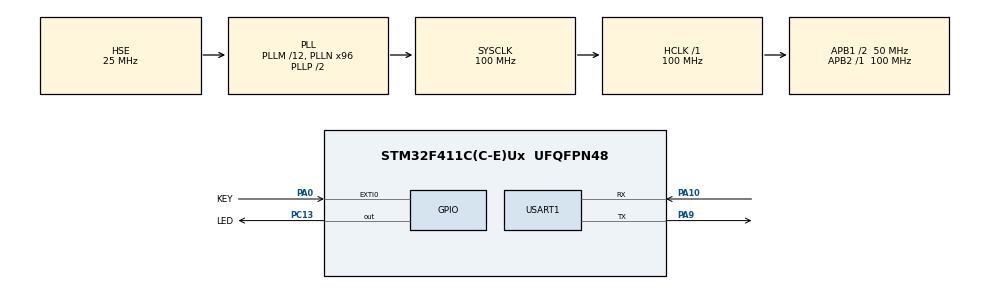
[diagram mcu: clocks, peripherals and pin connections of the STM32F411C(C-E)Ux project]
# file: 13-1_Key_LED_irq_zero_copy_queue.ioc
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FREERTOS.Tasks01=defaultTask,24,128,StartDefaultTask,Default,NULL,Dynamic,NULL,NULL
FREERTOS.Timers01=myTimer01,CallbackTimer01,osTimerPeriodic,Default,NULL,Dynamic,NULL
Mcu.Family=STM32F4
Mcu.Name=STM32F411C(C-E)Ux
Mcu.Package=UFQFPN48
NVIC.EXTI0_IRQn=true\:5\:0\:false\:false\:true\:true\:true\:true\:true
NVIC.PriorityGroup=NVIC_PRIORITYGROUP_4
NVIC.TIM1_BRK_TIM9_IRQn=true\:5\:0\:false\:false\:true\:true\:true\:true\:true
NVIC.TIM1_UP_TIM10_IRQn=true\:15\:0\:false\:false\:true\:false\:false\:true\:true
NVIC.TimeBase=TIM1_UP_TIM10_IRQn
NVIC.TimeBaseIP=TIM1
NVIC.USART1_IRQn=true\:5\:0\:false\:false\:true\:true\:true\:true\:true
PA0-WKUP.GPIO_Label=KEY
PA0-WKUP.GPIO_ModeDefaultEXTI=GPIO_MODE_IT_RISING_FALLING
PA0-WKUP.GPIO_PuPd=GPIO_PULLUP
PA0-WKUP.Signal=GPXTI0
PA10.Mode=Asynchronous
PA10.Signal=USART1_RX
PA13.Mode=Serial_Wire
PA13.Signal=SYS_JTMS-SWDIO
PA14.Mode=Serial_Wire
PA14.Signal=SYS_JTCK-SWCLK
PA9.Mode=Asynchronous
PA9.Signal=USART1_TX
PC13-ANTI_TAMP.GPIO_Label=LED
PC13-ANTI_TAMP.GPIO_PuPd=GPIO_PULLUP
PC13-ANTI_TAMP.Signal=GPIO_Output
PC14-OSC32_IN.Mode=LSE-External-Oscillator
PC14-OSC32_IN.Signal=RCC_OSC32_IN
PC15-OSC32_OUT.Mode=LSE-External-Oscillator
PC15-OSC32_OUT.Signal=RCC_OSC32_OUT
PH0\ -\ OSC_IN.Mode=HSE-External-Oscillator
PH0\ -\ OSC_IN.Signal=RCC_OSC_IN
PH1\ -\ OSC_OUT.Mode=HSE-External-Oscillator
PH1\ -\ OSC_OUT.Signal=RCC_OSC_OUT
ProjectManager.HeapSize=0x200
ProjectManager.StackSize=0x400
ProjectManager.TargetToolchain=MDK-ARM V5.32
RCC.48MHZClocksFreq_Value=50000000
RCC.AHBFreq_Value=100000000
RCC.APB1CLKDivider=RCC_HCLK_DIV2
RCC.APB1Freq_Value=50000000
RCC.APB1TimFreq_Value=100000000
RCC.APB2Freq_Value=100000000
RCC.APB2TimFreq_Value=100000000
RCC.CortexFreq_Value=100000000
RCC.HCLKFreq_Value=100000000
RCC.HSE_VALUE=25000000
RCC.HSI_VALUE=16000000
RCC.PLLM=12
RCC.PLLN=96
RCC.PLLSourceVirtual=RCC_PLLSOURCE_HSE
RCC.SYSCLKFreq_VALUE=100000000
RCC.SYSCLKSource=RCC_SYSCLKSOURCE_PLLCLK
RCC.VCOOutputFreq_Value=200000000
TIM9.Period=2000-1
TIM9.Prescaler=10000-1
USART1.VirtualMode=VM_ASYNC
VP_FREERTOS_VS_CMSIS_V2.Mode=CMSIS_V2
VP_SYS_VS_tim1.Mode=TIM1
VP_TIM9_VS_ClockSourceINT.Mode=Internal
board=custom

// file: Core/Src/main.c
/* USER CODE BEGIN Header */
/**
  ******************************************************************************
  * @file           : main.c
  * @brief          : Main program body
  ******************************************************************************
  * @attention
  *
  * Copyright (c) 2026 STMicroelectronics.
  * All rights reserved.
  *
  * This software is licensed under terms that can be found in the LICENSE file
  * in the root directory of this software component.
  * If no LICENSE file comes with this software, it is provided AS-IS.
  *
  ******************************************************************************
  */
/* USER CODE END Header */
#include "main.h"
#include "cmsis_os.h"
#include "tim.h"
#include "usart.h"
#include "gpio.h"

/* USER CODE BEGIN Includes */

#include "FreeRTOS.h"

#include <stdio.h>
// #include "semphr.h"
// #include "../../Bsp/Bsp_Key.h"
// #include "../../Bsp/Bsp_Led.h"

/* USER CODE END Includes */

void SystemClock_Config(void);
void MX_FREERTOS_Init(void);

int main(void)
{

  /* MCU Configuration--------------------------------------------------------*/

  /* Reset of all peripherals, Initializes the Flash interface and the Systick. */
  HAL_Init();

  /* Configure the system clock */
  SystemClock_Config();

  /* Initialize all configured peripherals */
  MX_GPIO_Init();
  MX_TIM9_Init();
  MX_USART1_UART_Init();

  /* Init scheduler */
  osKernelInitialize();  /* Call init function for freertos objects (in freertos.c) */
  MX_FREERTOS_Init();

  /* Start scheduler */
  osKernelStart();
  /* We should never get here as control is now taken by the scheduler */
  /* Infinite loop */
  while (1)
  {

  }
}

void SystemClock_Config(void)
{
  RCC_OscInitTypeDef RCC_OscInitStruct = {0};
  RCC_ClkInitTypeDef RCC_ClkInitStruct = {0};

  /** Configure the main internal regulator output voltage
  */
  __HAL_RCC_PWR_CLK_ENABLE();
  __HAL_PWR_VOLTAGESCALING_CONFIG(PWR_REGULATOR_VOLTAGE_SCALE1);

  /** Initializes the RCC Oscillators according to the specified parameters
  * in the RCC_OscInitTypeDef structure.
  */
  RCC_OscInitStruct.OscillatorType = RCC_OSCILLATORTYPE_HSE;
  RCC_OscInitStruct.HSEState = RCC_HSE_ON;
  RCC_OscInitStruct.PLL.PLLState = RCC_PLL_ON;
  RCC_OscInitStruct.PLL.PLLSource = RCC_PLLSOURCE_HSE;
  RCC_OscInitStruct.PLL.PLLM = 12;
  RCC_OscInitStruct.PLL.PLLN = 96;
  RCC_OscInitStruct.PLL.PLLP = RCC_PLLP_DIV2;
  RCC_OscInitStruct.PLL.PLLQ = 4;
  if (HAL_RCC_OscConfig(&RCC_OscInitStruct) != HAL_OK)
  {
    Error_Handler();
  }

  /** Initializes the CPU, AHB and APB buses clocks
  */
  RCC_ClkInitStruct.ClockType = RCC_CLOCKTYPE_HCLK|RCC_CLOCKTYPE_SYSCLK
                              |RCC_CLOCKTYPE_PCLK1|RCC_CLOCKTYPE_PCLK2;
  RCC_ClkInitStruct.SYSCLKSource = RCC_SYSCLKSOURCE_PLLCLK;
  RCC_ClkInitStruct.AHBCLKDivider = RCC_SYSCLK_DIV1;
  RCC_ClkInitStruct.APB1CLKDivider = RCC_HCLK_DIV2;
  RCC_ClkInitStruct.APB2CLKDivider = RCC_HCLK_DIV1;

  if (HAL_RCC_ClockConfig(&RCC_ClkInitStruct, FLASH_LATENCY_3) != HAL_OK)
  {
    Error_Handler();
  }
}

void HAL_TIM_PeriodElapsedCallback(TIM_HandleTypeDef *htim)
{
  if (htim->Instance == TIM1) {
    HAL_IncTick();
  }
}

void Error_Handler(void)
{
  __disable_irq();
  while (1)
  {
  }
}

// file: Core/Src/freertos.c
/* USER CODE BEGIN Header */
/**
  ******************************************************************************
  * File Name          : freertos.c
  * Description        : Code for freertos applications
  ******************************************************************************
  * @attention
  *
  * Copyright (c) 2026 STMicroelectronics.
  * All rights reserved.
  *
  * This software is licensed under terms that can be found in the LICENSE file
  * in the root directory of this software component.
  * If no LICENSE file comes with this software, it is provided AS-IS.
  *
  ******************************************************************************
  */
/* USER CODE END Header */

#include "FreeRTOS.h"
#include "task.h"
#include "main.h"
#include "cmsis_os.h"

/* USER CODE BEGIN Includes */

#include <stdio.h>
#include "semphr.h"

#include "../../Bsp/Bsp_Key.h"
#include "../../Bsp/Bsp_Led.h"
#include "KeyLedControl.h"

/* USER CODE END Includes */

/* USER CODE BEGIN Variables */

QueueHandle_t g_Queue_KeyLED = NULL ;
QueueHandle_t g_Queue_KeyIrq = NULL ;

/* USER CODE END Variables */
/* Definitions for defaultTask */
osThreadId_t defaultTaskHandle;
const osThreadAttr_t defaultTask_attributes = {
  .name = "defaultTask",
  .stack_size = 128 * 4,
  .priority = (osPriority_t) osPriorityNormal,
};
/* Definitions for myTimer01 */
osTimerId_t myTimer01Handle;
const osTimerAttr_t myTimer01_attributes = {
  .name = "myTimer01"
};

void StartDefaultTask(void *argument);
void CallbackTimer01(void *argument);

void MX_FREERTOS_Init(void); /* (MISRA C 2004 rule 8.1) */

void MX_FREERTOS_Init(void) {

  /* Create the timer(s) */
  /* creation of myTimer01 */
  myTimer01Handle = osTimerNew(CallbackTimer01, osTimerPeriodic, NULL, &myTimer01_attributes);

  /* USER CODE BEGIN RTOS_QUEUES */
  /* add queues, ... */
    g_Queue_KeyLED = xQueueCreate( (UBaseType_t)10, sizeof(uint8_t) );
    if( NULL == g_Queue_KeyLED )
    {
        printf(" g_Queue_KeyLED queue create FAIL! \n ");
    }

    g_Queue_KeyIrq = xQueueCreate( (UBaseType_t)10, sizeof(KeyIrqStatus_t) );
    if( NULL == g_Queue_KeyIrq )
    {
        printf(" g_Queue_KeyIrq queue create FAIL! \n ");
    }

  /* USER CODE END RTOS_QUEUES */

  /* Create the thread(s) */
  /* creation of defaultTask */
  defaultTaskHandle = osThreadNew(StartDefaultTask, NULL, &defaultTask_attributes);

  /* USER CODE BEGIN RTOS_THREADS */
  /* add threads, ... */
    BaseType_t  key = xTaskCreate( KeyTask,
                                    " Key control LED ",
                                    1000,
                                    NULL,
                                    25,      // 1
                                    NULL );
    if(  pdPASS == key )
    {
        printf("KeyTask create SUCCESS! \n");
    }
    else{
        printf("KeyTask create FAIL! \n");
    }

        // LED 亮灭任务
    BaseType_t Led = xTaskCreate( LedTask,
                                    " LED flash ",
                                    1000,
                                    NULL,
                                    25,          // 2
                                    NULL );
    if(  pdPASS == Led )
    {
        printf("LedTask create SUCCESS! \n");
    }
    else{
        printf("LedTask create FAIL! \n");
    }

  /* USER CODE END RTOS_THREADS */

}

void StartDefaultTask(void *argument)
{
  /* USER CODE BEGIN StartDefaultTask */
  /* Infinite loop */
  for(;;)
  {

    // BSP_LED_On_Off(eLED_OK);
    // // printf(" LED on ! \r\n");
    // vTaskDelay(500);

    // BSP_LED_On_Off(eLED_OFF);
    // // printf(" LED off ! \r\n");
    // vTaskDelay(500);

  }
  /* USER CODE END StartDefaultTask */
}

/* CallbackTimer01 function */
void CallbackTimer01(void *argument)
{
}
